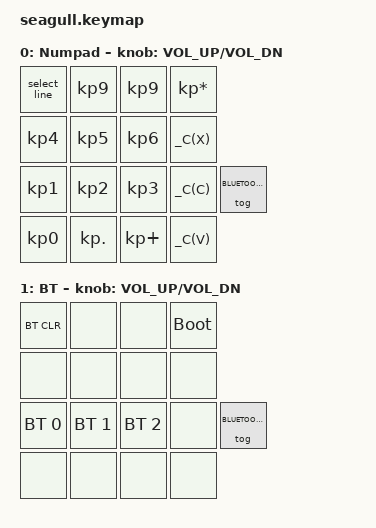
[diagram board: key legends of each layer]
#include <behaviors.dtsi>
#include <dt-bindings/zmk/keys.h>
#include <dt-bindings/zmk/bt.h>

#define NUMPAD 0
#define BLUETOOTH 1
#define _C      LC
#define _UNDO       _C(Z)
#define _CUT        _C(X)
#define _COPY       _C(C)
#define _PASTE      _C(V)
#define _FIND       _C(F)
#define _FIND_NEXT  _C(G)
#define _FIND_PREV  _C(LS(G))

#ifndef SELECT_WORD_DELAY
#define SELECT_WORD_DELAY 1
#endif

/ {
	macros {
		select_line: select_line {
			compatible = "zmk,behavior-mod-morph";
			#binding-cells = <0>;
			bindings = <&select_line_right>, <&select_line_left>;
			mods = <(MOD_LSFT|MOD_RSFT)>;
		};

		ZMK_MACRO(select_line_right,
			wait-ms = <SELECT_WORD_DELAY>;
			tap-ms = <SELECT_WORD_DELAY>;
			bindings = <&kp HOME &kp LS(END)>;
		)

		ZMK_MACRO(select_line_left,
			wait-ms = <SELECT_WORD_DELAY>;
			tap-ms = <SELECT_WORD_DELAY>;
			bindings = <&kp END &kp LS(HOME)>;
		)
	};

	keymap {
		compatible = "zmk,keymap";

		layer_numpad {
			display-name = "Numpad";

			// +----------------------------+
			// |  sl  |   8  |   9  |   *   |
			// +------+------+------+-------+
			// |   4  |   5  |   6  |  CUT  |
			// +------+------+------+-------+-------+
			// |   1  |   2  |   3  |  COPY | L-BT  |
			// +------+------+------+-------+-------+
			// |   0  |   .  |  +   | PASTE |
			// +------+------+------+-------+

			bindings = <
				&select_line    &kp KP_N9        &kp KP_N9        &kp KP_MULTIPLY
				&kp KP_N4       &kp KP_N5        &kp KP_N6        &kp _CUT
				&kp KP_N1       &kp KP_N2        &kp KP_N3        &kp _COPY    &tog BLUETOOTH
				&kp KP_N0       &kp KP_DOT       &kp KP_PLUS      &kp _PASTE
			>;

			sensor-bindings = <&inc_dec_kp C_VOL_UP C_VOL_DN>;
		};

		layer_bluetooth {
			display-name = "BT";

			// +---------------------------+
			// |CLEAR |      |      |BTLDR |
			// +------+------+------+------+
			// |      |      |      |      |
			// +------+------+------+------+-------+
			// | PF1  | PF2  |  PF3 |      | L-BT  |
			// +------+------+------+------+-------+
			// |      |      |      |      |
			// +------+------+------+------+

			bindings = <
				&bt BT_CLR      &none         &none           &bootloader
				&none           &none         &none           &none
				&bt BT_SEL 0    &bt BT_SEL 1  &bt BT_SEL 2    &none        &tog BLUETOOTH
				&none           &none         &none           &none
			>;

			sensor-bindings = <&inc_dec_kp C_VOL_UP C_VOL_DN>;
		};
	};
};
